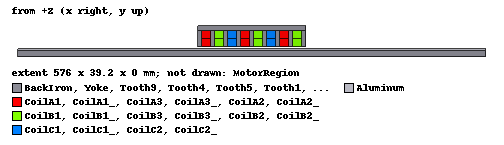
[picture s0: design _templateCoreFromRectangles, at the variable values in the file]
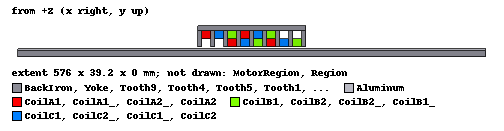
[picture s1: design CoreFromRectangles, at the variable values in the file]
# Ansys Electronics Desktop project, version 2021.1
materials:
  vacuum: permittivity=1
  aluminum: permeability=1.000021 conductivity=38000000
  iron: permeability=4000 conductivity=10300000
  copper: permeability=0.999991 conductivity=58000000

design _templateCoreFromRectangles (Maxwell 2D, Magnetostatic, XY geometry, model units mm)
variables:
  frequency = 100Hz
  Ipeak = 10A
  slots = 8
  poles = 3
  turns = 57
  slip = 1
  airGap = 2.7mm
  alumHeight = 2mm
  backIronHeight = 8mm
  coreLength = (268 / 2) mm
  slotHeight = 20mm
  coreHeight = slotHeight + yokeHeight
  yokeHeight = 6.5mm
  coreDepth = 50mm
  polePitch = coreLength / poles
  slotWidth = 10mm
  toothWidth = 6mm
  slotPitch = slotWidth + toothWidth
  phaseCount = 3
  coilPitch = 2
  synchSpeed = 2*frequency*polePitch
  transSpeed = (1-slip) * synchSpeed
  modelLength = 12 * (slotPitch * phaseCount)
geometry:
  Aluminum [aluminum] = rectangle(corner=(-modelLength/2, 0mm, 0mm), x_size=modelLength, y_size=-alumHeight)
  BackIron [iron] = rectangle(corner=(-modelLength/2, -alumHeight, 0mm), x_size=modelLength, y_size=-backIronHeight)
  Yoke [iron] = rectangle(corner=(-coreLength/2, airGap + slotHeight, 0mm), x_size=coreLength, y_size=yokeHeight)
  MotorRegion [vacuum] = rectangle(corner=(-coreLength/2, airGap, 0mm), x_size=coreLength, y_size=coreHeight)
  Tooth1 [iron] = rectangle(corner=(-coreLength/2, airGap, 0mm), x_size=toothWidth, y_size=slotHeight)
  Tooth2 [iron] = rectangle(corner=(-coreLength/2 + slotPitch, airGap, 0mm), x_size=toothWidth, y_size=slotHeight)
  Tooth3 [iron] = rectangle(corner=(-coreLength/2 + 2 * slotPitch, airGap, 0mm), x_size=toothWidth, y_size=slotHeight)
  Tooth4 [iron] = rectangle(corner=(-coreLength/2  + 3*slotPitch, airGap, 0mm), x_size=toothWidth, y_size=slotHeight)
  Tooth5 [iron] = rectangle(corner=(-coreLength/2  + 4*slotPitch, airGap, 0mm), x_size=toothWidth, y_size=slotHeight)
  Tooth6 [iron] = rectangle(corner=(-coreLength/2  + 5*slotPitch, airGap, 0mm), x_size=toothWidth, y_size=slotHeight)
  Tooth7 [iron] = rectangle(corner=(-coreLength/2  + 6*slotPitch, airGap, 0mm), x_size=toothWidth, y_size=slotHeight)
  Tooth8 [iron] = rectangle(corner=(-coreLength/2  + 7*slotPitch, airGap, 0mm), x_size=toothWidth, y_size=slotHeight)
  Tooth9 [iron] = rectangle(corner=(-coreLength/2  + 8*slotPitch, airGap, 0mm), x_size=toothWidth, y_size=slotHeight)
  CoilA1 [copper] = rectangle(corner=(-coreLength / 2 + toothWidth, airGap + slotHeight/2, 0mm), x_size=slotWidth, y_size=slotHeight/2)
  CoilB1 [copper] = rectangle(corner=(-coreLength / 2 + slotPitch + toothWidth, airGap + slotHeight/2, 0mm), x_size=slotWidth, y_size=slotHeight/2)
  CoilC1 [copper] = rectangle(corner=(-coreLength / 2 + 2 * slotPitch + toothWidth, airGap + slotHeight/2, 0mm), x_size=slotWidth, y_size=slotHeight/2)
  CoilA1_ [copper] = rectangle(corner=(-coreLength / 2 + toothWidth, airGap, 0mm), x_size=slotWidth, y_size=slotHeight/2)
  CoilB1_ [copper] = rectangle(corner=(-coreLength / 2 + slotPitch + toothWidth, airGap, 0mm), x_size=slotWidth, y_size=slotHeight/2)
  CoilC1_ [copper] = rectangle(corner=(-coreLength / 2 + 2*slotPitch + toothWidth, airGap, 0mm), x_size=slotWidth, y_size=slotHeight/2)
  CoilA2 [copper] = rectangle(corner=(-coreLength / 2 + toothWidth, airGap + slotHeight/2, 0mm), x_size=slotWidth, y_size=slotHeight/2)
  CoilB2 [copper] = rectangle(corner=(-coreLength / 2 + slotPitch + toothWidth, airGap + slotHeight/2, 0mm), x_size=slotWidth, y_size=slotHeight/2)
  CoilC2 [copper] = rectangle(corner=(-coreLength / 2 + 2 * slotPitch + toothWidth, airGap + slotHeight/2, 0mm), x_size=slotWidth, y_size=slotHeight/2)
  CoilA2_ [copper] = rectangle(corner=(-coreLength / 2 + toothWidth, airGap, 0mm), x_size=slotWidth, y_size=slotHeight/2)
  CoilB2_ [copper] = rectangle(corner=(-coreLength / 2 + slotPitch + toothWidth, airGap, 0mm), x_size=slotWidth, y_size=slotHeight/2)
  CoilC2_ [copper] = rectangle(corner=(-coreLength / 2 + 2*slotPitch + toothWidth, airGap, 0mm), x_size=slotWidth, y_size=slotHeight/2)
  [CoilA2, CoilB2, CoilC2, CoilA2_, CoilB2_, CoilC2_].move(48mm, 0mm, 0mm)
  CoilA3 [copper] = rectangle(corner=(-coreLength / 2 + toothWidth, airGap + slotHeight/2, 0mm), x_size=slotWidth, y_size=slotHeight/2)
  CoilA3.move(48mm, 0mm, 0mm)
  CoilB3 [copper] = rectangle(corner=(-coreLength / 2 + slotPitch + toothWidth, airGap + slotHeight/2, 0mm), x_size=slotWidth, y_size=slotHeight/2)
  CoilB3.move(48mm, 0mm, 0mm)
  CoilA3_ [copper] = rectangle(corner=(-coreLength / 2 + toothWidth, airGap, 0mm), x_size=slotWidth, y_size=slotHeight/2)
  CoilA3_.move(48mm, 0mm, 0mm)
  CoilB3_ [copper] = rectangle(corner=(-coreLength / 2 + slotPitch + toothWidth, airGap, 0mm), x_size=slotWidth, y_size=slotHeight/2)
  CoilB3_.move(48mm, 0mm, 0mm)
  [CoilA3, CoilB3, CoilA3_, CoilB3_].move(48mm, 0mm, 0mm)
  group Tooth_Group = Tooth1..Tooth9
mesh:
  initial mesh: MeshMethod=AnsoftTAU

design CoreFromRectangles (Maxwell 2D, Transient, XY geometry, model units mm)
options: ModelDepth=coreDepth
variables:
  frequency = 100Hz
  Ipeak = 10A
  slots = 8
  poles = 3
  turns = 57
  slip = 1
  airGap = 2.7mm
  alumHeight = 2mm
  backIronHeight = 8mm
  coreLength = (268 / 2) mm
  slotHeight = 20mm
  coreHeight = slotHeight + yokeHeight
  yokeHeight = 6.5mm
  coreDepth = 50mm
  polePitch = coreLength / poles
  slotWidth = 10mm
  toothWidth = 6mm
  slotPitch = slotWidth + toothWidth
  phaseCount = 3
  coilPitch = 2
  synchSpeed = 2*frequency*polePitch
  transSpeed = (1-slip) * synchSpeed
  modelLength = 12 * (slotPitch * phaseCount)
  simTime = 1/frequency * 5
  simStep = simTime/8
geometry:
  Aluminum [aluminum] = rectangle(corner=(-modelLength/2, 0mm, 0mm), x_size=modelLength, y_size=-alumHeight)
  BackIron [iron] = rectangle(corner=(-modelLength/2, -alumHeight, 0mm), x_size=modelLength, y_size=-backIronHeight)
  Yoke [iron] = rectangle(corner=(-coreLength/2, airGap + slotHeight, 0mm), x_size=coreLength, y_size=yokeHeight)
  MotorRegion [vacuum] = rectangle(corner=(-coreLength/2, airGap, 0mm), x_size=coreLength, y_size=coreHeight)
  Tooth1 [iron] = rectangle(corner=(-coreLength/2, airGap, 0mm), x_size=toothWidth, y_size=slotHeight)
  Tooth2 [iron] = rectangle(corner=(-coreLength/2 + slotPitch, airGap, 0mm), x_size=toothWidth, y_size=slotHeight)
  Tooth3 [iron] = rectangle(corner=(-coreLength/2 + 2 * slotPitch, airGap, 0mm), x_size=toothWidth, y_size=slotHeight)
  Tooth4 [iron] = rectangle(corner=(-coreLength/2  + 3*slotPitch, airGap, 0mm), x_size=toothWidth, y_size=slotHeight)
  Tooth5 [iron] = rectangle(corner=(-coreLength/2  + 4*slotPitch, airGap, 0mm), x_size=toothWidth, y_size=slotHeight)
  Tooth6 [iron] = rectangle(corner=(-coreLength/2  + 5*slotPitch, airGap, 0mm), x_size=toothWidth, y_size=slotHeight)
  Tooth7 [iron] = rectangle(corner=(-coreLength/2  + 6*slotPitch, airGap, 0mm), x_size=toothWidth, y_size=slotHeight)
  Tooth8 [iron] = rectangle(corner=(-coreLength/2  + 7*slotPitch, airGap, 0mm), x_size=toothWidth, y_size=slotHeight)
  Tooth9 [iron] = rectangle(corner=(-coreLength/2  + 8*slotPitch, airGap, 0mm), x_size=toothWidth, y_size=slotHeight)
  CoilA1 [copper] = rectangle(corner=(-coreLength / 2 + toothWidth, airGap + slotHeight/2, 0mm), x_size=slotWidth, y_size=slotHeight/2)
  CoilB1 [copper] = rectangle(corner=(-coreLength / 2 + slotPitch + toothWidth, airGap + slotHeight/2, 0mm), x_size=slotWidth, y_size=slotHeight/2)
  CoilC1 [copper] = rectangle(corner=(-coreLength / 2 + 2 * slotPitch + toothWidth, airGap + slotHeight/2, 0mm), x_size=slotWidth, y_size=slotHeight/2)
  CoilA1_ [copper] = rectangle(corner=(-coreLength / 2 + toothWidth, airGap, 0mm), x_size=slotWidth, y_size=slotHeight/2)
  CoilB1_ [copper] = rectangle(corner=(-coreLength / 2 + slotPitch + toothWidth, airGap, 0mm), x_size=slotWidth, y_size=slotHeight/2)
  CoilC1_ [copper] = rectangle(corner=(-coreLength / 2 + 2*slotPitch + toothWidth, airGap, 0mm), x_size=slotWidth, y_size=slotHeight/2)
  CoilA2 [copper] = rectangle(corner=(-coreLength / 2 + toothWidth, airGap + slotHeight/2, 0mm), x_size=slotWidth, y_size=slotHeight/2)
  CoilB2 [copper] = rectangle(corner=(-coreLength / 2 + slotPitch + toothWidth, airGap + slotHeight/2, 0mm), x_size=slotWidth, y_size=slotHeight/2)
  CoilC2 [copper] = rectangle(corner=(-coreLength / 2 + 2 * slotPitch + toothWidth, airGap + slotHeight/2, 0mm), x_size=slotWidth, y_size=slotHeight/2)
  CoilA2_ [copper] = rectangle(corner=(-coreLength / 2 + toothWidth, airGap, 0mm), x_size=slotWidth, y_size=slotHeight/2)
  CoilB2_ [copper] = rectangle(corner=(-coreLength / 2 + slotPitch + toothWidth, airGap, 0mm), x_size=slotWidth, y_size=slotHeight/2)
  CoilC2_ [copper] = rectangle(corner=(-coreLength / 2 + 2*slotPitch + toothWidth, airGap, 0mm), x_size=slotWidth, y_size=slotHeight/2)
  [CoilA2, CoilB2, CoilC2, CoilA2_, CoilB2_, CoilC2_].move(48mm, 0mm, 0mm)
  [CoilB1, CoilB2].move(16mm, 0mm, 0mm)
  [CoilC1, CoilC2].move(-16mm, 0mm, 0mm)
  [CoilA1_, CoilB1_, CoilC1_, CoilA2_, CoilB2_, CoilC2_].move(32mm, 0mm, 0mm)
  [CoilB1_, CoilB2_].move(16mm, 0mm, 0mm)
  [CoilC1_, CoilC2_].move(-16mm, 0mm, 0mm)
  Region [vacuum] = region(percentage_offset=0 on all sides)
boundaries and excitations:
  VectorPotential: Vector Potential Edges=Region.edge(4 of 4, 2 of 4) Value=0
  Parent: Independent Edges=Region.edge(3 of 4)
  Child: Dependent Edges=Region.edge(1 of 4) ReverseU Independent=Parent SameAsMaster=true
  CoilA1: Coil Objects=CoilA1 Conductor_number=turns Winding=PhaseA PolarityType=Positive
  CoilA1_: Coil Objects=CoilA1_ Conductor_number=turns Winding=PhaseA PolarityType=Positive
  CoilA2: Coil Objects=CoilA2 Conductor_number=turns Winding=PhaseA PolarityType=Positive
  CoilA2_: Coil Objects=CoilA2_ Conductor_number=turns Winding=PhaseA PolarityType=Positive
  CoilB1: Coil Objects=CoilB1 Conductor_number=turns Winding=PhaseB PolarityType=Positive
  CoilB1_: Coil Objects=CoilB1_ Conductor_number=turns Winding=PhaseB PolarityType=Positive
  CoilB2: Coil Objects=CoilB2 Conductor_number=turns Winding=PhaseB PolarityType=Positive
  CoilB2_: Coil Objects=CoilB2_ Conductor_number=turns Winding=PhaseB PolarityType=Positive
  CoilC1: Coil Objects=CoilC1 Conductor_number=turns Winding=PhaseC PolarityType=Positive
  CoilC1_: Coil Objects=CoilC1_ Conductor_number=turns Winding=PhaseC PolarityType=Positive
  CoilC2: Coil Objects=CoilC2 Conductor_number=turns Winding=PhaseC PolarityType=Positive
  CoilC2_: Coil Objects=CoilC2_ Conductor_number=turns Winding=PhaseC PolarityType=Positive
  PhaseA: Winding Group Type=Current IsSolid=false Current=Ipeak*sin(2*pi*frequency*Time) ParallelBranchesNum=1
  PhaseB: Winding Group Type=Current IsSolid=false Current="Ipeak*sin(2*pi*frequency*Time - 2*pi/3)" ParallelBranchesNum=1
  PhaseC: Winding Group Type=Current IsSolid=false Current="Ipeak*sin(2*pi*frequency*Time + 2*pi/3)" ParallelBranchesNum=1
  eddy effects on: Aluminum, CoilA1, CoilB1, CoilC1, CoilA1_, CoilB1_, CoilC1_, CoilA2, CoilB2, CoilC2, CoilA2_, CoilB2_, CoilC2_
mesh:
  BackIron: LengthBased RefineInside Objects=BackIron MaxLength=0.5mm
  Core: LengthBased RefineInside Objects=[Tooth1..Tooth9, Yoke] MaxLength=1mm
  Coils: LengthBased RefineInside Objects=[CoilA1, CoilA1_, CoilA2, CoilA2_, CoilB1, CoilB1_, CoilB2, CoilB2_, CoilC1, CoilC1_, CoilC2, CoilC2_] MaxLength=0.1mm
  initial mesh: GlobalSurfApproximation{CurvedSurfaceApproxChoice=UseSlider SliderMeshSettings=1} MeshMethod=AnsoftTAU
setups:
  Setup: Transient NonlinearSolverResidual=0.0001 StopTime=simTime TimeStep=simStep InitialTimeStep=0.002s MinTimeStep=0.001s MaxTimeStep=0.003s TimeStepErrTolerance=0.0001
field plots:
  Mesh1: MeshPlots over Aluminum, BackIron, Yoke, MotorRegion, Tooth1..Tooth9, CoilA1, CoilB1, CoilC1, CoilA1_, CoilB1_, CoilC1_, CoilA2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 on Setup : Transient at Time=-1
